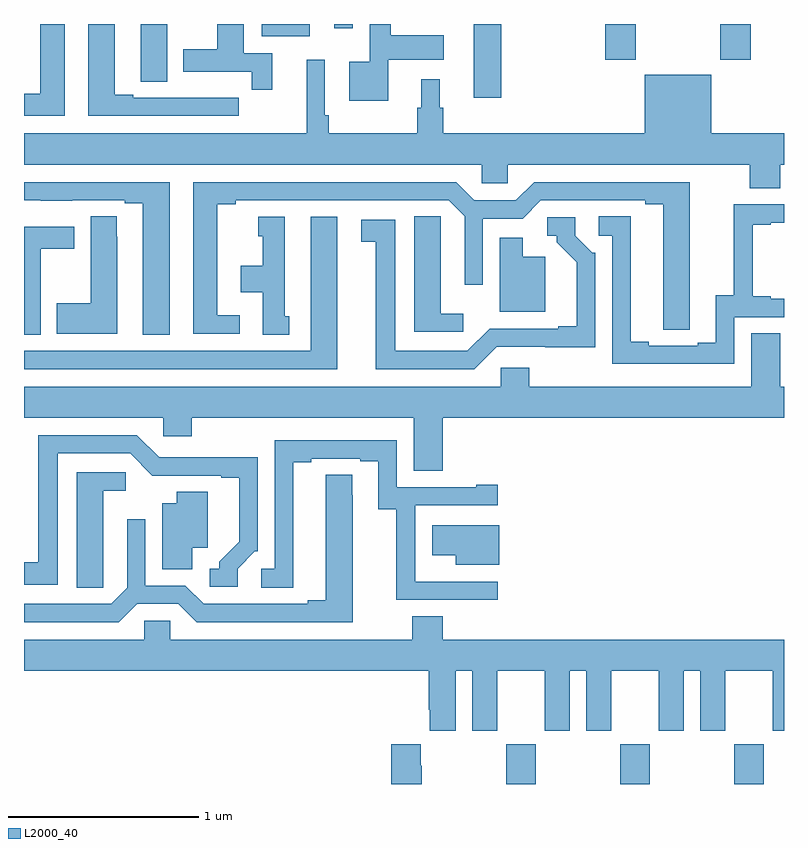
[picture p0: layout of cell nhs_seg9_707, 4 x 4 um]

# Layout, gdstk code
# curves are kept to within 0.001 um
import gdstk
lib = gdstk.Library(unit=1e-6, precision=1e-09)
def R(c, l, rs):  # rectangles x0, y0, x1, y1
    for r in rs: c.add(gdstk.rectangle(r[:2], r[2:], *l))
def A(c, l, x, y, w, h, nx, ny, dx, dy):  # array of equal rectangles
    R(c, l, [(x+i*dx, y+j*dy, x+i*dx+w, y+j*dy+h) for i in range(nx) for j in range(ny)])
def P(c, l, *ps):  # polygons
    for p in ps: c.add(gdstk.Polygon(p, *l))
L2000_40 = (2000, 40)

nhs_seg9_707 = lib.new_cell('nhs_seg9_707')
A(nhs_seg9_707, L2000_40, 149.539, 1186.5, 0.155, 0.208, 3, 1, 0.6, 0)
R(nhs_seg9_707, L2000_40, [(149.366,1190.112,149.513,1190.5), (150.059,1190.313,150.219,1190.5), (150.664,1190.313,150.824,1190.5), (148.25,1190.435,148.504,1190.5), (148.634,1190.478,148.731,1190.5)])
P(nhs_seg9_707, L2000_40, [(148.307,1190.346),(148.156,1190.346),(148.156,1190.5),(148.016,1190.5),(148.016,1190.367),(147.839,1190.367),(147.839,1190.25),(148.198,1190.25),(148.198,1190.154),(148.307,1190.154)],
  [(147.754,1190.5),(147.614,1190.5),(147.614,1190.305),(147.615,1190.305),(147.615,1190.197),(147.754,1190.197)],
  [(147.214,1190.5),(147.086,1190.5),(147.086,1190.132),(147,1190.132),(147,1190.016),(147.214,1190.016)],
  [(148.129,1190.112),(148.016,1190.112),(148.016,1190.113),(147.85,1190.113),(147.85,1190.112),(147.574,1190.112),(147.574,1190.127),(147.478,1190.127),(147.478,1190.5),(147.338,1190.5),(147.338,1190.016),(148.129,1190.016)],
  [(148.918,1190.312),(149.209,1190.312),(149.209,1190.442),(148.93,1190.442),(148.93,1190.5),(148.821,1190.5),(148.821,1190.302),(148.712,1190.302),(148.712,1190.096),(148.918,1190.096)],
  [(150.98,1189.76),(151,1189.76),(151,1189.924),(150.616,1189.924),(150.616,1190.233),(150.266,1190.233),(150.266,1189.924),(149.207,1189.924),(149.207,1190.058),(149.188,1190.058),(149.188,1190.209),(149.09,1190.209),(149.09,1190.058),(149.071,1190.058),(149.071,1189.924),(148.604,1189.924),(148.604,1190.02),(148.584,1190.02),(148.584,1190.311),(148.487,1190.311),(148.487,1189.924),(147,1189.924),(147,1189.76),(149.409,1189.76),(149.409,1189.662),(149.547,1189.662),(149.547,1189.76),(150.82,1189.76),(150.82,1189.636),(150.98,1189.636)],
  [(147.766,1189.668),(147,1189.668),(147,1189.572),(147.088,1189.572),(147.088,1189.571),(147.254,1189.571),(147.254,1189.572),(147.53,1189.572),(147.53,1189.557),(147.626,1189.557),(147.626,1188.865),(147.766,1188.865)],
  [(148.135,1188.966),(148.018,1188.966),(148.018,1189.552),(148.114,1189.552),(148.114,1189.572),(149.235,1189.572),(149.319,1189.488),(149.319,1189.128),(149.415,1189.128),(149.415,1189.476),(149.625,1189.476),(149.721,1189.572),(150.269,1189.572),(150.269,1189.552),(150.365,1189.552),(150.365,1188.892),(150.504,1188.892),(150.505,1189.668),(149.685,1189.668),(149.589,1189.572),(149.371,1189.572),(149.275,1189.668),(147.89,1189.668),(147.89,1188.87),(148.135,1188.87)],
  [(150.738,1188.957),(151,1188.957),(151,1189.053),(150.931,1189.053),(150.931,1189.066),(150.836,1189.066),(150.836,1189.443),(150.931,1189.443),(150.931,1189.455),(151,1189.455),(151,1189.551),(150.736,1189.551),(150.736,1189.073),(150.641,1189.073),(150.641,1188.822),(150.545,1188.822),(150.545,1188.807),(150.289,1188.807),(150.289,1188.827),(150.193,1188.827),(150.193,1189.487),(150.024,1189.487),(150.024,1189.386),(150.096,1189.386),(150.096,1188.711),(150.738,1188.711)],
  [(149.311,1188.976),(149.194,1188.976),(149.194,1189.379),(149.193,1189.379),(149.193,1189.487),(149.054,1189.487),(149.054,1188.879),(149.311,1188.879)],
  [(147.49,1189.379),(147.489,1189.379),(147.489,1189.487),(147.35,1189.487),(147.35,1189.029),(147.173,1189.029),(147.173,1188.869),(147.49,1188.869)],
  [(148.396,1188.963),(148.372,1188.963),(148.372,1189.486),(148.232,1189.486),(148.232,1189.383),(148.256,1189.383),(148.256,1189.228),(148.142,1189.228),(148.142,1189.088),(148.256,1189.088),(148.256,1188.865),(148.396,1188.865)],
  [(148.648,1189.486),(148.508,1189.486),(148.508,1188.78),(147,1188.78),(147,1188.684),(148.648,1188.684)],
  [(149.487,1188.801),(150.006,1188.8),(150.006,1189.296),(149.991,1189.296),(149.901,1189.386),(149.901,1189.482),(149.754,1189.482),(149.754,1189.386),(149.804,1189.386),(149.804,1189.351),(149.909,1189.246),(149.909,1188.91),(149.813,1188.91),(149.813,1188.897),(149.451,1188.897),(149.334,1188.78),(148.954,1188.78),(148.954,1189.47),(148.776,1189.47),(148.776,1189.354),(148.85,1189.354),(148.85,1188.684),(149.37,1188.684)],
  [(147.088,1189.318),(147.265,1189.318),(147.265,1189.434),(147,1189.434),(147,1188.865),(147.088,1188.865)],
  [(149.743,1189.276),(149.626,1189.276),(149.626,1189.375),(149.504,1189.375),(149.504,1188.986),(149.743,1188.986)],
  [(149.204,1188.428),(151,1188.428),(151,1188.592),(150.98,1188.592),(150.98,1188.872),(150.827,1188.872),(150.827,1188.592),(149.66,1188.592),(149.66,1188.69),(149.508,1188.69),(149.508,1188.592),(147,1188.592),(147,1188.428),(147.732,1188.428),(147.732,1188.33),(147.884,1188.33),(147.884,1188.428),(149.051,1188.428),(149.051,1188.148),(149.204,1188.148)],
  [(148.125,1187.634),(148.215,1187.724),(148.23,1187.724),(148.23,1188.221),(147.967,1188.221),(147.967,1188.219),(147.711,1188.219),(147.594,1188.336),(147.074,1188.336),(147.074,1187.666),(147,1187.666),(147,1187.55),(147.178,1187.55),(147.178,1188.24),(147.558,1188.24),(147.676,1188.122),(148.037,1188.123),(148.037,1188.111),(148.133,1188.111),(148.133,1187.774),(148.028,1187.669),(148.028,1187.634),(147.978,1187.634),(147.978,1187.538),(148.125,1187.538)],
  [(149.494,1187.565),(149.06,1187.565),(149.06,1187.566),(149.058,1187.566),(149.058,1187.967),(149.494,1187.967),(149.494,1188.076),(149.381,1188.076),(149.381,1188.063),(148.962,1188.063),(148.962,1188.309),(148.32,1188.309),(148.32,1187.634),(148.248,1187.634),(148.248,1187.533),(148.417,1187.533),(148.417,1188.193),(148.513,1188.193),(148.513,1188.213),(148.769,1188.213),(148.769,1188.198),(148.865,1188.198),(148.865,1187.947),(148.96,1187.947),(148.96,1187.469),(149.494,1187.469)],
  [(147.417,1187.641),(147.418,1187.641),(147.418,1188.044),(147.535,1188.044),(147.535,1188.141),(147.278,1188.141),(147.278,1187.533),(147.417,1187.533)],
  [(147.595,1187.448),(147.813,1187.448),(147.909,1187.352),(148.729,1187.352),(148.728,1188.128),(148.589,1188.128),(148.589,1187.468),(148.493,1187.468),(148.493,1187.448),(147.945,1187.448),(147.849,1187.544),(147.639,1187.544),(147.639,1187.893),(147.543,1187.893),(147.543,1187.532),(147.459,1187.448),(147,1187.448),(147,1187.352),(147.499,1187.352)],
  [(147.886,1187.744),(147.967,1187.744),(147.967,1188.038),(147.803,1188.038),(147.803,1187.977),(147.728,1187.977),(147.728,1187.629),(147.886,1187.629)],
  [(149.5,1187.863),(149.148,1187.863),(149.148,1187.705),(149.273,1187.705),(149.273,1187.654),(149.5,1187.654)],
  [(149.272,1187.096),(149.36,1187.096),(149.36,1186.779),(149.491,1186.779),(149.491,1187.096),(149.741,1187.096),(149.741,1186.779),(149.872,1186.779),(149.872,1187.096),(149.96,1187.096),(149.96,1186.779),(150.091,1186.779),(150.091,1187.096),(150.341,1187.096),(150.341,1186.779),(150.472,1186.779),(150.472,1187.096),(150.56,1187.096),(150.56,1186.779),(150.691,1186.779),(150.691,1187.096),(150.941,1187.096),(150.941,1186.779),(151,1186.779),(151,1187.26),(149.204,1187.26),(149.204,1187.384),(149.044,1187.384),(149.044,1187.26),(147.771,1187.26),(147.771,1187.358),(147.633,1187.358),(147.633,1187.26),(147,1187.26),(147,1187.096),(149.129,1187.096),(149.129,1186.891),(149.135,1186.891),(149.135,1186.779),(149.272,1186.779)],
  [(149.094,1186.595),(149.089,1186.595),(149.089,1186.708),(148.934,1186.708),(148.934,1186.5),(149.094,1186.5)])

lib.write_gds('nhs_seg9_707.gds')
